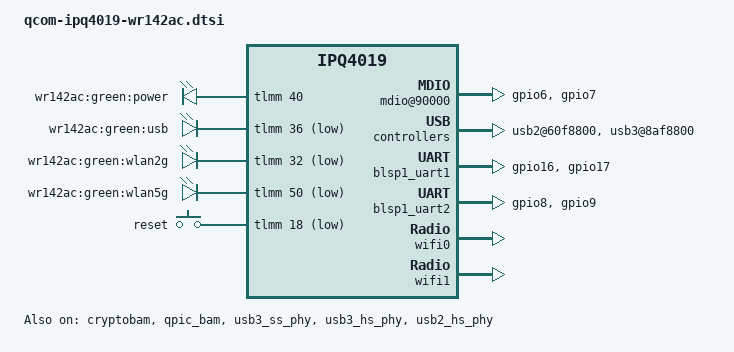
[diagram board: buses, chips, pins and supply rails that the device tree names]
// SPDX-License-Identifier: GPL-2.0-or-later OR MIT

#include "qcom-ipq4019.dtsi"
#include <dt-bindings/gpio/gpio.h>
#include <dt-bindings/input/input.h>
#include <dt-bindings/soc/qcom,tcsr.h>

/ {
	aliases {
		led-boot = &led_power;
		led-failsafe = &led_power;
		led-running = &led_power;
		led-upgrade = &led_power;
	};

	soc {
		rng@22000 {
			status = "okay";
		};

		mdio@90000 {
			status = "okay";
			pinctrl-0 = <&mdio_pins>;
			pinctrl-names = "default";
		};

		ess-psgmii@98000 {
			status = "okay";
		};

		tcsr@1949000 {
			compatible = "qcom,tcsr";
			reg = <0x1949000 0x100>;
			qcom,wifi_glb_cfg = <TCSR_WIFI_GLB_CFG>;
		};

		tcsr@194b000 {
			compatible = "qcom,tcsr";
			reg = <0x194b000 0x100>;
			qcom,usb-hsphy-mode-select = <TCSR_USB_HSPHY_HOST_MODE>;
		};

		ess_tcsr@1953000 {
			compatible = "qcom,tcsr";
			reg = <0x1953000 0x1000>;
			qcom,ess-interface-select = <TCSR_ESS_PSGMII>;
		};

		tcsr@1957000 {
			compatible = "qcom,tcsr";
			reg = <0x1957000 0x100>;
			qcom,wifi_noc_memtype_m0_m2 = <TCSR_WIFI_NOC_MEMTYPE_M0_M2>;
		};

		usb2@60f8800 {
			status = "okay";

			dwc3@6000000 {
				#address-cells = <1>;
				#size-cells = <0>;

				usb2_port1: port@1 {
					reg = <1>;
					#trigger-source-cells = <0>;
				};
			};
		};

		usb3@8af8800 {
			status = "okay";

			dwc3@8a00000 {
				#address-cells = <1>;
				#size-cells = <0>;

				usb3_port1: port@1 {
					reg = <1>;
					#trigger-source-cells = <0>;
				};

				usb3_port2: port@2 {
					reg = <2>;
					#trigger-source-cells = <0>;
				};
			};
		};

		crypto@8e3a000 {
			status = "okay";
		};

		watchdog@b017000 {
			status = "okay";
		};

		ess-switch@c000000 {
			status = "okay";
		};

		edma@c080000 {
			status = "okay";
		};
	};

	leds {
		compatible = "gpio-leds";
		pinctrl-0 = <&led_pins>;
		pinctrl-names = "default";

		led_power: power {
			label = "wr142ac:green:power";
			gpios = <&tlmm 40 GPIO_ACTIVE_HIGH>;
		};

		usb {
			label = "wr142ac:green:usb";
			gpios = <&tlmm 36 GPIO_ACTIVE_LOW>;
			linux,default-trigger = "usbport";
			trigger-sources = <&usb3_port1>, <&usb3_port2>, <&usb2_port1>;
		};

		wlan2g {
			label = "wr142ac:green:wlan2g";
			gpios = <&tlmm 32 GPIO_ACTIVE_LOW>;
			linux,default-trigger = "phy0tpt";
		};

		wlan5g {
			label = "wr142ac:green:wlan5g";
			gpios = <&tlmm 50 GPIO_ACTIVE_LOW>;
			linux,default-trigger = "phy1tpt";
		};
	};

	keys {
		compatible = "gpio-keys";

		reset {
			label = "reset";
			gpios = <&tlmm 18 GPIO_ACTIVE_LOW>;
			linux,code = <KEY_RESTART>;
		};
	};
};

&blsp_dma {
	status = "okay";
};

&blsp1_uart1 {
	pinctrl-0 = <&serial_0_pins>;
	pinctrl-names = "default";
	status = "okay";
};

&blsp1_uart2 {
	pinctrl-0 = <&serial_1_pins>;
	pinctrl-names = "default";
	status = "okay";
};

&cryptobam {
	status = "okay";
};

&qpic_bam {
	status = "okay";
};

&tlmm {
	mdio_pins: mdio_pinmux {
		mux_1 {
			pins = "gpio6";
			function = "mdio";
			bias-pull-up;
		};

		mux_2 {
			pins = "gpio7";
			function = "mdc";
			bias-pull-up;
		};
	};

	serial_0_pins: serial0-pinmux {
		mux {
			pins = "gpio16", "gpio17";
			function = "blsp_uart0";
			bias-disable;
		};
	};

	serial_1_pins: serial1_pinmux {
		mux {
			pins = "gpio8", "gpio9";
			function = "blsp_uart1";
			bias-disable;
		};
	};

	spi_0_pins: spi_0_pinmux {
		pin {
			function = "blsp_spi0";
			pins = "gpio13", "gpio14", "gpio15";
			drive-strength = <12>;
			bias-disable;
		};

		pin_cs {
			function = "gpio";
			pins = "gpio12";
			drive-strength = <2>;
			bias-disable;
			output-high;
		};
	};

	led_pins: led_pinmux {
		mux {
			pins = "gpio36", "gpio40";
			function = "gpio";
			bias-pull-down;
		};
	};
};

&usb3_ss_phy {
	status = "okay";
};

&usb3_hs_phy {
	status = "okay";
};

&usb2_hs_phy {
	status = "okay";
};

&wifi0 {
	status = "okay";
	qcom,ath10k-calibration-variant = "WR142AC";
};

&wifi1 {
	status = "okay";
	qcom,ath10k-calibration-variant = "WR142AC";
};
